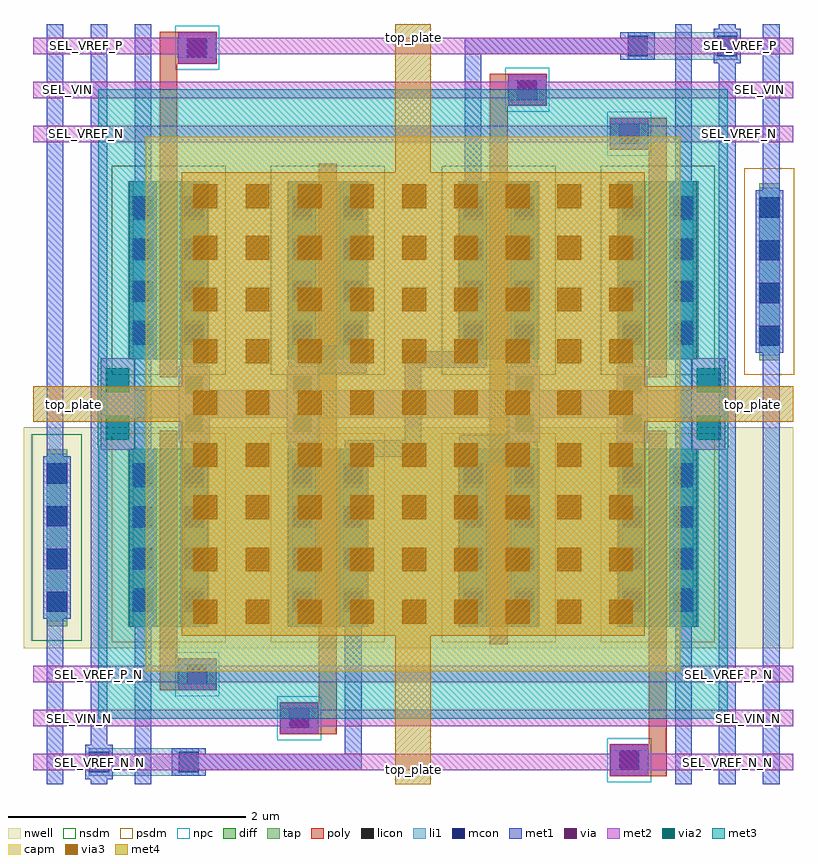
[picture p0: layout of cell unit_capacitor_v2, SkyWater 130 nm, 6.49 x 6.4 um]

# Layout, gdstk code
from math import pi, radians
import gdstk
lib = gdstk.Library(unit=1e-6, precision=1e-09)
def R(c, l, rs):  # rectangles x0, y0, x1, y1
    for r in rs: c.add(gdstk.rectangle(r[:2], r[2:], *l))
def A(c, l, x, y, w, h, nx, ny, dx, dy):  # array of equal rectangles
    R(c, l, [(x+i*dx, y+j*dy, x+i*dx+w, y+j*dy+h) for i in range(nx) for j in range(ny)])
nwell = (64, 20)
diff = (65, 20)
tap = (65, 44)
poly = (66, 20)
licon = (66, 44)
li1 = (67, 20)
mcon = (67, 44)
met1 = (68, 20)
via = (68, 44)
met2 = (69, 20)
via2 = (69, 44)
met3 = (70, 20)
via3 = (70, 44)
met4 = (71, 20)
capm = (89, 44)
nsdm = (93, 44)
psdm = (94, 20)
npc = (95, 20)

cap_mim_m3__base_cdns_78 = lib.new_cell('cap_mim_m3__base_CDNS_784050799213')
R(cap_mim_m3__base_cdns_78, met3, [(-0.4,-0.4,4.9,4.9)])
A(cap_mim_m3__base_cdns_78, via3, 0.4, 0.4, 0.2, 0.2, 5, 5, 0.44, 0.44)
A(cap_mim_m3__base_cdns_78, via3, 2.595, 0.4, 0.2, 0.2, 4, 5, 0.435, 0.44)
A(cap_mim_m3__base_cdns_78, via3, 0.4, 2.595, 0.2, 0.2, 5, 4, 0.44, 0.435)
A(cap_mim_m3__base_cdns_78, via3, 2.595, 2.595, 0.2, 0.2, 4, 4, 0.435, 0.435)
R(cap_mim_m3__base_cdns_78, met4, [(0.3,0.3,4.2,4.2)])
R(cap_mim_m3__base_cdns_78, capm, [(0,0,4.5,4.5)])

nfet_01v8_cdns_784050799 = lib.new_cell('nfet_01v8_CDNS_784050799214')
R(nfet_01v8_cdns_784050799, diff, [(-0.265,0,0,1.5), (0,0,0.15,1.5), (0.15,0,0.415,1.5)])
R(nfet_01v8_cdns_784050799, poly, [(0,-0.15,0.15,-0.095), (0,-0.095,0.15,0), (0,0,0.15,1.5), (0,1.5,0.15,1.595), (0,1.595,0.15,1.65)])
A(nfet_01v8_cdns_784050799, licon, -0.225, 0.155, 0.17, 0.17, 1, 4, 0, 0.34)
A(nfet_01v8_cdns_784050799, licon, 0.205, 0.155, 0.17, 0.17, 1, 4, 0, 0.34)
R(nfet_01v8_cdns_784050799, li1, [(-0.225,0,-0.055,1.5), (0.205,0,0.375,1.5)])
A(nfet_01v8_cdns_784050799, mcon, -0.225, 0.125, 0.17, 0.17, 1, 4, 0, 0.36)
A(nfet_01v8_cdns_784050799, mcon, 0.205, 0.125, 0.17, 0.17, 1, 4, 0, 0.36)
R(nfet_01v8_cdns_784050799, met1, [(-0.255,0,-0.025,1.5), (0.175,0,0.405,1.5)])
R(nfet_01v8_cdns_784050799, nsdm, [(-0.405,-0.13,0.555,1.63)])

pfet_01v8_cdns_784050799 = lib.new_cell('pfet_01v8_CDNS_784050799215')
R(pfet_01v8_cdns_784050799, nwell, [(-0.445,-0.18,0.595,1.68)])
R(pfet_01v8_cdns_784050799, diff, [(-0.265,0,0,1.5), (0,0,0.15,1.5), (0.15,0,0.415,1.5)])
R(pfet_01v8_cdns_784050799, poly, [(0,-0.15,0.15,-0.095), (0,-0.095,0.15,0), (0,0,0.15,1.5), (0,1.5,0.15,1.595), (0,1.595,0.15,1.65)])
A(pfet_01v8_cdns_784050799, licon, -0.225, 0.155, 0.17, 0.17, 1, 4, 0, 0.34)
A(pfet_01v8_cdns_784050799, licon, 0.205, 0.155, 0.17, 0.17, 1, 4, 0, 0.34)
R(pfet_01v8_cdns_784050799, li1, [(-0.225,0,-0.055,1.5), (0.205,0,0.375,1.5)])
A(pfet_01v8_cdns_784050799, mcon, -0.225, 0.125, 0.17, 0.17, 1, 4, 0, 0.36)
A(pfet_01v8_cdns_784050799, mcon, 0.205, 0.125, 0.17, 0.17, 1, 4, 0, 0.36)
R(pfet_01v8_cdns_784050799, met1, [(-0.255,0,-0.025,1.5), (0.175,0,0.405,1.5)])
R(pfet_01v8_cdns_784050799, psdm, [(-0.405,-0.13,0.555,1.63)])

polyconn_cdns_7840507992 = lib.new_cell('polyConn_CDNS_784050799210')
R(polyconn_cdns_7840507992, poly, [(-0.135,-0.165,0.135,0.165)])
R(polyconn_cdns_7840507992, licon, [(-0.085,-0.085,0.085,0.085)])
R(polyconn_cdns_7840507992, li1, [(-0.085,-0.165,0.085,0.165)])
R(polyconn_cdns_7840507992, mcon, [(-0.085,-0.085,0.085,0.085)])
R(polyconn_cdns_7840507992, met1, [(-0.13,-0.16,0.13,0.16)])
R(polyconn_cdns_7840507992, npc, [(-0.185,-0.185,0.185,0.185)])

m1m2_c_cdns_784050799210 = lib.new_cell('M1M2_C_CDNS_784050799210')
R(m1m2_c_cdns_784050799210, met1, [(-0.13,-0.16,0.13,0.16)])
R(m1m2_c_cdns_784050799210, via, [(-0.075,-0.075,0.075,0.075)])
R(m1m2_c_cdns_784050799210, met2, [(-0.13,-0.16,0.13,0.16)])

l1m1_c_cdns_784050799211 = lib.new_cell('L1M1_C_CDNS_784050799211')
R(l1m1_c_cdns_784050799211, li1, [(-0.085,-0.115,0.085,0.115)])
R(l1m1_c_cdns_784050799211, mcon, [(-0.085,-0.085,0.085,0.085)])
R(l1m1_c_cdns_784050799211, met1, [(-0.115,-0.145,0.115,0.145)])

l1m1_c_cdns_784050799212 = lib.new_cell('L1M1_C_CDNS_784050799212')
R(l1m1_c_cdns_784050799212, li1, [(-0.085,-0.115,0.085,0.115)])
R(l1m1_c_cdns_784050799212, mcon, [(-0.085,-0.085,0.085,0.085)])
R(l1m1_c_cdns_784050799212, met1, [(-0.145,-0.115,0.145,0.115)])

nwelltap_cdns_7840507992 = lib.new_cell('nwellTap_CDNS_784050799211')
R(nwelltap_cdns_7840507992, nwell, [(-0.265,-0.925,0.265,0.925)])
R(nwelltap_cdns_7840507992, tap, [(-0.085,-0.745,0.085,0.745)])
A(nwelltap_cdns_7840507992, licon, -0.085, -0.625, 0.17, 0.17, 1, 4, 0, 0.36)
R(nwelltap_cdns_7840507992, li1, [(-0.085,-0.705,0.085,0.705)])
A(nwelltap_cdns_7840507992, mcon, -0.085, -0.625, 0.17, 0.17, 1, 4, 0, 0.36)
R(nwelltap_cdns_7840507992, met1, [(-0.115,-0.685,0.115,0.685)])
R(nwelltap_cdns_7840507992, nsdm, [(-0.21,-0.87,0.21,0.87)])

subtap_cdns_784050799212 = lib.new_cell('subTap_CDNS_784050799212')
R(subtap_cdns_784050799212, tap, [(-0.085,-0.745,0.085,0.745)])
A(subtap_cdns_784050799212, licon, -0.085, -0.625, 0.17, 0.17, 1, 4, 0, 0.36)
R(subtap_cdns_784050799212, li1, [(-0.085,-0.705,0.085,0.705)])
A(subtap_cdns_784050799212, mcon, -0.085, -0.625, 0.17, 0.17, 1, 4, 0, 0.36)
R(subtap_cdns_784050799212, met1, [(-0.115,-0.685,0.115,0.685)])
R(subtap_cdns_784050799212, psdm, [(-0.21,-0.87,0.21,0.87)])

m1m2_c_cdns_784050799213 = lib.new_cell('M1M2_C_CDNS_784050799213')
R(m1m2_c_cdns_784050799213, met1, [(-0.13,-0.32,0.13,0.32)])
R(m1m2_c_cdns_784050799213, via, [(-0.075,-0.235,0.075,-0.085), (-0.075,0.085,0.075,0.235)])
R(m1m2_c_cdns_784050799213, met2, [(-0.13,-0.32,0.13,0.32)])

m2m3_c_cdns_784050799214 = lib.new_cell('M2M3_C_CDNS_784050799214')
R(m2m3_c_cdns_784050799214, met2, [(-0.14,-0.385,0.14,0.385)])
R(m2m3_c_cdns_784050799214, via2, [(-0.1,-0.3,0.1,-0.1), (-0.1,0.1,0.1,0.3)])
R(m2m3_c_cdns_784050799214, met3, [(-0.165,-0.365,0.165,0.365)])

unit_capacitor_v2 = lib.new_cell('unit_capacitor_v2')
R(unit_capacitor_v2, nwell, [(-0.08,1.145,6.4,3.005)])
A(unit_capacitor_v2, met1, 0.115, 0, 0.14, 0.14, 3, 2, 0.37, 6.26)
A(unit_capacitor_v2, met1, 5.405, 0, 0.14, 0.14, 3, 2, 0.37, 6.26)
A(unit_capacitor_v2, met2, 0, 0.115, 0.14, 0.14, 1, 3, 0, 0.37)
A(unit_capacitor_v2, met2, 6.26, 0.115, 0.14, 0.14, 1, 3, 0, 0.37)
A(unit_capacitor_v2, met2, 0, 5.405, 0.14, 0.14, 1, 3, 0, 0.37)
A(unit_capacitor_v2, met2, 6.26, 5.405, 0.14, 0.14, 1, 3, 0, 0.37)
R(unit_capacitor_v2, met4, [(3.05,0,3.35,0.255), (0,3.05,0.255,3.35), (6.145,3.05,6.4,3.35), (3.05,6.145,3.35,6.4)])
unit_capacitor_v2.add(gdstk.FlexPath([(3.2,0.255),(3.2,1.25)], 0.3, ends="flush", simple_path=True, layer=71, datatype=20))  # met4
unit_capacitor_v2.add(gdstk.FlexPath([(6.145,3.2),(5.15,3.2)], 0.3, ends="flush", simple_path=True, layer=71, datatype=20))  # met4
unit_capacitor_v2.add(gdstk.FlexPath([(3.2,6.145),(3.2,5.15)], 0.3, ends="flush", simple_path=True, layer=71, datatype=20))  # met4
unit_capacitor_v2.add(gdstk.FlexPath([(0.255,3.2),(1.25,3.2)], 0.3, ends="flush", simple_path=True, layer=71, datatype=20))  # met4
unit_capacitor_v2.add(gdstk.FlexPath([(5.09,6.215),(5.845,6.215)], 0.23, ends="flush", simple_path=True, layer=67, datatype=20))  # li1
unit_capacitor_v2.add(gdstk.FlexPath([(1.31,0.185),(0.555,0.185)], 0.23, ends="flush", simple_path=True, layer=67, datatype=20))  # li1
unit_capacitor_v2.add(gdstk.FlexPath([(3.92,2.975),(3.92,3.425)], 0.15, ends="flush", simple_path=True, layer=66, datatype=20))  # poly
unit_capacitor_v2.add(gdstk.FlexPath([(2.48,2.975),(2.48,3.425)], 0.15, ends="flush", simple_path=True, layer=66, datatype=20))  # poly
unit_capacitor_v2.add(gdstk.FlexPath([(5.26,5.225),(5.26,5.61)], 0.15, ends="flush", simple_path=True, layer=66, datatype=20))  # poly
unit_capacitor_v2.add(gdstk.FlexPath([(2.48,1.175),(2.48,0.42)], 0.15, ends="flush", simple_path=True, layer=66, datatype=20))  # poly
unit_capacitor_v2.add(gdstk.FlexPath([(1.14,5.225),(1.14,6.335)], 0.15, ends="flush", simple_path=True, layer=66, datatype=20))  # poly
unit_capacitor_v2.add(gdstk.FlexPath([(5.26,1.175),(5.26,0.065)], 0.15, ends="flush", simple_path=True, layer=66, datatype=20))  # poly
unit_capacitor_v2.add(gdstk.FlexPath([(3.92,5.225),(3.92,5.98)], 0.15, ends="flush", simple_path=True, layer=66, datatype=20))  # poly
unit_capacitor_v2.add(gdstk.FlexPath([(1.14,1.175),(1.14,0.79)], 0.15, ends="flush", simple_path=True, layer=66, datatype=20))  # poly
unit_capacitor_v2.add(gdstk.FlexPath([(2.695,0.185),(1.31,0.185)], 0.14, ends=(0.07, 0), simple_path=True, layer=68, datatype=20))  # met1
unit_capacitor_v2.add(gdstk.FlexPath([(3.705,2.825),(4.135,2.825)], 0.23, ends="extended", simple_path=True, layer=68, datatype=20))  # met1
unit_capacitor_v2.add(gdstk.FlexPath([(3.705,5.075),(3.705,6.215)], 0.14, ends=(0, 0.07), simple_path=True, layer=68, datatype=20))  # met1
unit_capacitor_v2.add(gdstk.FlexPath([(0.555,0.185),(0.555,6.26)], 0.14, ends="flush", simple_path=True, layer=68, datatype=20))  # met1
unit_capacitor_v2.add(gdstk.FlexPath([(3.705,6.215),(5.09,6.215)], 0.14, ends=(0.07, 0), simple_path=True, layer=68, datatype=20))  # met1
unit_capacitor_v2.add(gdstk.FlexPath([(2.695,1.325),(2.695,0.185)], 0.14, ends=(0, 0.07), simple_path=True, layer=68, datatype=20))  # met1
unit_capacitor_v2.add(gdstk.FlexPath([(2.695,2.825),(3.2,2.825)], 0.14, ends="extended", simple_path=True, layer=68, datatype=20))  # met1
unit_capacitor_v2.add(gdstk.FlexPath([(2.695,3.575),(2.265,3.575)], 0.23, ends="extended", simple_path=True, layer=68, datatype=20))  # met1
unit_capacitor_v2.add(gdstk.FlexPath([(2.265,3.575),(2.265,2.825)], 0.23, ends=(0.115, 0), simple_path=True, layer=68, datatype=20))  # met1
unit_capacitor_v2.add(gdstk.FlexPath([(1.355,3.575),(1.355,2.825)], 0.23, ends="flush", simple_path=True, layer=68, datatype=20))  # met1
unit_capacitor_v2.add(gdstk.FlexPath([(5.045,3.575),(5.045,2.825)], 0.23, ends="flush", simple_path=True, layer=68, datatype=20))  # met1
unit_capacitor_v2.add(gdstk.FlexPath([(3.2,3.575),(3.82,3.575)], 0.14, ends=(0.07, 0), simple_path=True, layer=68, datatype=20))  # met1
unit_capacitor_v2.add(gdstk.FlexPath([(3.2,2.825),(3.2,3.575)], 0.14, ends="extended", simple_path=True, layer=68, datatype=20))  # met1
unit_capacitor_v2.add(gdstk.FlexPath([(4.135,2.825),(4.135,3.575)], 0.23, ends=(0.115, 0), simple_path=True, layer=68, datatype=20))  # met1
unit_capacitor_v2.add(gdstk.FlexPath([(0.185,6.4),(0.185,0)], 0.14, ends="flush", simple_path=True, layer=68, datatype=20))  # met1
unit_capacitor_v2.add(gdstk.FlexPath([(0.925,6.4),(0.925,0)], 0.14, ends="flush", simple_path=True, layer=68, datatype=20))  # met1
unit_capacitor_v2.add(gdstk.FlexPath([(6.215,6.4),(6.215,0)], 0.14, ends="flush", simple_path=True, layer=68, datatype=20))  # met1
unit_capacitor_v2.add(gdstk.FlexPath([(5.845,6.215),(5.845,0.14)], 0.14, ends="flush", simple_path=True, layer=68, datatype=20))  # met1
unit_capacitor_v2.add(gdstk.FlexPath([(5.475,6.4),(5.475,0)], 0.14, ends="flush", simple_path=True, layer=68, datatype=20))  # met1
unit_capacitor_v2.add(gdstk.FlexPath([(5.045,3.2),(5.685,3.2)], 0.23, ends="flush", simple_path=True, layer=69, datatype=20))  # met2
unit_capacitor_v2.add(gdstk.FlexPath([(3.705,3.2),(5.045,3.2)], 0.23, ends="flush", simple_path=True, layer=69, datatype=20))  # met2
unit_capacitor_v2.add(gdstk.FlexPath([(0.715,3.2),(1.355,3.2)], 0.23, ends="flush", simple_path=True, layer=69, datatype=20))  # met2
unit_capacitor_v2.add(gdstk.FlexPath([(2.695,3.2),(3.705,3.2)], 0.23, ends="flush", simple_path=True, layer=69, datatype=20))  # met2
unit_capacitor_v2.add(gdstk.FlexPath([(1.355,3.2),(2.695,3.2)], 0.23, ends="flush", simple_path=True, layer=69, datatype=20))  # met2
unit_capacitor_v2.add(gdstk.FlexPath([(0,6.215),(6.4,6.215)], 0.14, ends="flush", simple_path=True, layer=69, datatype=20))  # met2
unit_capacitor_v2.add(gdstk.FlexPath([(0,5.845),(6.4,5.845)], 0.14, ends="flush", simple_path=True, layer=69, datatype=20))  # met2
unit_capacitor_v2.add(gdstk.FlexPath([(0,5.475),(6.4,5.475)], 0.14, ends="flush", simple_path=True, layer=69, datatype=20))  # met2
unit_capacitor_v2.add(gdstk.FlexPath([(0,0.185),(6.4,0.185)], 0.14, ends="flush", simple_path=True, layer=69, datatype=20))  # met2
unit_capacitor_v2.add(gdstk.FlexPath([(0,0.555),(6.4,0.555)], 0.14, ends="flush", simple_path=True, layer=69, datatype=20))  # met2
unit_capacitor_v2.add(gdstk.FlexPath([(0,0.925),(6.4,0.925)], 0.14, ends="flush", simple_path=True, layer=69, datatype=20))  # met2
unit_capacitor_v2.add(gdstk.Reference(cap_mim_m3__base_cdns_78, (0.95,0.95)))
unit_capacitor_v2.add(gdstk.Reference(nfet_01v8_cdns_784050799, (1.065,3.575)))
unit_capacitor_v2.add(gdstk.Reference(nfet_01v8_cdns_784050799, (2.405,3.575)))
unit_capacitor_v2.add(gdstk.Reference(nfet_01v8_cdns_784050799, (3.995,3.575), rotation=pi, x_reflection=True))
unit_capacitor_v2.add(gdstk.Reference(nfet_01v8_cdns_784050799, (5.335,3.575), rotation=pi, x_reflection=True))
unit_capacitor_v2.add(gdstk.Reference(pfet_01v8_cdns_784050799, (1.215,1.325), rotation=pi, x_reflection=True))
unit_capacitor_v2.add(gdstk.Reference(pfet_01v8_cdns_784050799, (3.845,1.325)))
unit_capacitor_v2.add(gdstk.Reference(pfet_01v8_cdns_784050799, (2.555,1.325), rotation=pi, x_reflection=True))
unit_capacitor_v2.add(gdstk.Reference(pfet_01v8_cdns_784050799, (5.185,1.325)))
unit_capacitor_v2.add(gdstk.Reference(polyconn_cdns_7840507992, (4.16,5.845), rotation=pi/2))
unit_capacitor_v2.add(gdstk.Reference(polyconn_cdns_7840507992, (2.24,0.555), rotation=pi/2))
unit_capacitor_v2.add(gdstk.Reference(polyconn_cdns_7840507992, (5.02,5.475), rotation=pi/2))
unit_capacitor_v2.add(gdstk.Reference(polyconn_cdns_7840507992, (5.02,0.2), rotation=pi/2))
unit_capacitor_v2.add(gdstk.Reference(polyconn_cdns_7840507992, (1.38,6.2), rotation=pi/2))
unit_capacitor_v2.add(gdstk.Reference(polyconn_cdns_7840507992, (1.38,0.925), rotation=pi/2))
unit_capacitor_v2.add(gdstk.Reference(m1m2_c_cdns_784050799210, (4.16,5.845), rotation=pi/2))
unit_capacitor_v2.add(gdstk.Reference(m1m2_c_cdns_784050799210, (2.24,0.555), rotation=pi/2))
unit_capacitor_v2.add(gdstk.Reference(m1m2_c_cdns_784050799210, (5.02,5.475), rotation=pi/2))
unit_capacitor_v2.add(gdstk.Reference(m1m2_c_cdns_784050799210, (5.02,0.2), rotation=pi/2))
unit_capacitor_v2.add(gdstk.Reference(m1m2_c_cdns_784050799210, (1.38,6.2), rotation=pi/2))
unit_capacitor_v2.add(gdstk.Reference(m1m2_c_cdns_784050799210, (1.38,0.925), rotation=pi/2))
unit_capacitor_v2.add(gdstk.Reference(l1m1_c_cdns_784050799211, (5.845,6.215)))
unit_capacitor_v2.add(gdstk.Reference(l1m1_c_cdns_784050799211, (0.555,0.185)))
unit_capacitor_v2.add(gdstk.Reference(l1m1_c_cdns_784050799212, (5.09,6.215)))
unit_capacitor_v2.add(gdstk.Reference(l1m1_c_cdns_784050799212, (1.31,0.185)))
unit_capacitor_v2.add(gdstk.Reference(nwelltap_cdns_7840507992, (0.2,2.075)))
unit_capacitor_v2.add(gdstk.Reference(subtap_cdns_784050799212, (6.2,4.315)))
unit_capacitor_v2.add(gdstk.Reference(m1m2_c_cdns_784050799213, (5.045,3.2)))
unit_capacitor_v2.add(gdstk.Reference(m1m2_c_cdns_784050799213, (2.265,3.2)))
unit_capacitor_v2.add(gdstk.Reference(m1m2_c_cdns_784050799213, (4.135,3.2)))
unit_capacitor_v2.add(gdstk.Reference(m1m2_c_cdns_784050799213, (1.355,3.2)))
unit_capacitor_v2.add(gdstk.Reference(m2m3_c_cdns_784050799214, (5.69,3.2)))
unit_capacitor_v2.add(gdstk.Reference(m2m3_c_cdns_784050799214, (0.71,3.2)))
unit_capacitor_v2.add(gdstk.Label('SEL_VREF_N', (5.95,5.475), layer=69, texttype=5))
unit_capacitor_v2.add(gdstk.Label('SEL_VIN', (6.12,5.845), layer=69, texttype=5))
unit_capacitor_v2.add(gdstk.Label('SEL_VREF_P', (5.955,6.215), layer=69, texttype=5))
unit_capacitor_v2.add(gdstk.Label('SEL_VREF_N_N', (5.845,0.185), layer=69, texttype=5))
unit_capacitor_v2.add(gdstk.Label('SEL_VIN_N', (6.02,0.555), layer=69, texttype=5))
unit_capacitor_v2.add(gdstk.Label('SEL_VREF_P_N', (5.855,0.925), layer=69, texttype=5))
unit_capacitor_v2.add(gdstk.Label('SEL_VREF_N_N', (0.56,0.185), layer=69, texttype=5))
unit_capacitor_v2.add(gdstk.Label('SEL_VIN_N', (0.39,0.555), layer=69, texttype=5))
unit_capacitor_v2.add(gdstk.Label('SEL_VREF_P_N', (0.55,0.925), layer=69, texttype=5))
unit_capacitor_v2.add(gdstk.Label('SEL_VREF_N', (0.45,5.475), layer=69, texttype=5))
unit_capacitor_v2.add(gdstk.Label('SEL_VIN', (0.285,5.845), layer=69, texttype=5))
unit_capacitor_v2.add(gdstk.Label('SEL_VREF_P', (0.45,6.215), layer=69, texttype=5))
unit_capacitor_v2.add(gdstk.Label('VREF_P', (0.925,0.07), layer=68, texttype=5))
unit_capacitor_v2.add(gdstk.Label('VIN', (0.555,0.07), layer=68, texttype=5))
unit_capacitor_v2.add(gdstk.Label('VDD', (0.185,0.07), layer=68, texttype=5))
unit_capacitor_v2.add(gdstk.Label('VSS', (6.215,0.07), layer=68, texttype=5))
unit_capacitor_v2.add(gdstk.Label('VIN', (5.845,0.07), layer=68, texttype=5))
unit_capacitor_v2.add(gdstk.Label('VREF_N', (5.475,0.07), layer=68, texttype=5))
unit_capacitor_v2.add(gdstk.Label('VSS', (6.215,6.33), layer=68, texttype=5))
unit_capacitor_v2.add(gdstk.Label('VIN', (5.845,6.33), layer=68, texttype=5))
unit_capacitor_v2.add(gdstk.Label('VREF_N', (5.475,6.33), layer=68, texttype=5))
unit_capacitor_v2.add(gdstk.Label('VREF_P', (0.925,6.33), layer=68, texttype=5))
unit_capacitor_v2.add(gdstk.Label('VIN', (0.555,6.33), layer=68, texttype=5))
unit_capacitor_v2.add(gdstk.Label('VDD', (0.185,6.33), layer=68, texttype=5))
unit_capacitor_v2.add(gdstk.Label('top_plate', (3.2,0.125), layer=71, texttype=5))
unit_capacitor_v2.add(gdstk.Label('top_plate', (6.06,3.2), layer=71, texttype=5))
unit_capacitor_v2.add(gdstk.Label('top_plate', (0.34,3.2), layer=71, texttype=5))
unit_capacitor_v2.add(gdstk.Label('top_plate', (3.2,6.29), layer=71, texttype=5))

lib.write_gds('unit_capacitor_v2.gds')
